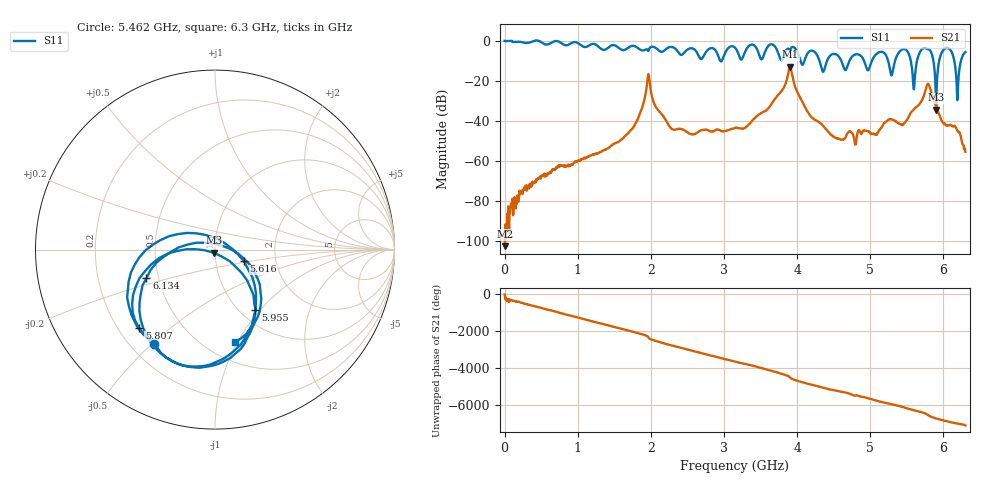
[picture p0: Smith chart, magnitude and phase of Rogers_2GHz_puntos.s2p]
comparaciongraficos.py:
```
import skrf as rf
import matplotlib.pyplot as plt

# --- CARGAR ARCHIVOS S2P ---
try:
    ntwk_rogers_medido = rf.Network('Rogers_2GHz_puntos.s2p')
except FileNotFoundError:
    print("ERROR: No se encontró 'Rogers_2GHz_puntos.s2p'.")
    exit()

try:
    ntwk_fr4_medido = rf.Network('FR4_2GHz_puntos.s2p')
except FileNotFoundError:
    print("ERROR: No se encontró 'FR4_2GHz_puntos.s2p'.")
    exit()

try:
    ntwk_rogers_simulado = rf.Network('S21-Rogers-2G.s2p')
except FileNotFoundError:
    print("ERROR: No se encontró 'S21-Rogers-2G.s2p'.")
    exit()

try:
    ntwk_fr4_simulado = rf.Network('S21-FR4-2G.s2p')
except FileNotFoundError:
    print("ERROR: No se encontró 'S21-FR4-2G.s2p'.")
    exit()

print("Archivos cargados exitosamente.")

# --- Graficar ---
fig, ax = plt.subplots(1, 2, figsize=(14, 6))

# --- ROGERS ---
ntwk_rogers_medido.plot_s_db(m=1, n=0, ax=ax[0], label='Medido', color='tab:blue')
ntwk_rogers_simulado.plot_s_db(m=1, n=0, ax=ax[0], label='Simulado', color='tab:orange', linestyle='--')
ax[0].set_xlim(0, 7e9)
ax[0].set_title('ROGERS 4350B $|S_{21}|$')
ax[0].set_xlabel('Frecuencia (Hz)')
ax[0].set_ylabel('Magnitud (dB)')
ax[0].grid(True, which="both", ls="--", alpha=0.6)
ax[0].legend()

# --- FR4 ---
ntwk_fr4_medido.plot_s_db(m=1, n=0, ax=ax[1], label='Medido', color='tab:blue')
ntwk_fr4_simulado.plot_s_db(m=1, n=0, ax=ax[1], label='Simulado', color='tab:orange', linestyle='--')
ax[1].set_xlim(0, 7e9)
ax[1].set_title('FR4 $|S_{21}|$')
ax[1].set_xlabel('Frecuencia (Hz)')
ax[1].set_ylabel('Magnitud (dB)')
ax[1].grid(True, which="both", ls="--", alpha=0.6)
ax[1].legend()

# --- Título general ---
plt.suptitle('Comparación de Parámetros $|S_{21}|$ a 2GHZ (Transmisión)')
plt.tight_layout(rect=[0, 0, 1, 0.96])
plt.show()
```
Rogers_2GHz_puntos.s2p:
! NanoVNA-App
! Date: 2025-10-01 20:26:19
! Start: 100kHz Stop: 6.3GHz Points: 1024
! S-Parameter data: F S11 S21 S12 S22
# Hz S RI R 50
!  Frequency  S11_Real  S11_Imag  S21_Real  S21_Imag  S12_Real  S12_Imag  S22_Real  S22_Imag
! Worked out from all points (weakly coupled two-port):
!   1024 points, 100 kHz to 6.3 GHz, reference 50 ohm
!   highest |S21| = -12.77 dB at 3.904 GHz (marker M1); lowest = -102.3 dB at 6.258 MHz (marker M2)
!   lowest |S11| = -34.3 dB at 5.9 GHz (marker M3), VSWR 1.04, Z = 49.2 - j1.76 ohm
!   |S11| at or under -10 dB: 4.306 GHz to 4.408 GHz (102.2 MHz wide, 2.35 % of centre); 4.605 GHz to 4.714 GHz (109.2 MHz wide, 2.34 % of centre); 4.915 GHz to 5.021 GHz (105.6 MHz wide, 2.13 % of centre)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
!   S12 and S22 are empty: the file has one direction only
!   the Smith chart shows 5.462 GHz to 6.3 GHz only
!   S11 on the Smith chart (normalised r, x): 5.462 GHz: 0.30, -0.51; 5.616 GHz: 1.37, -0.18; 5.807 GHz: 0.28, -0.39; 5.955 GHz: 1.17, -0.94; 6.134 GHz: 0.43, -0.16; 6.3 GHz: 0.68, -0.98
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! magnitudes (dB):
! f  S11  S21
! 100 kHz  0.0  -97.1
! 6.258 MHz  0.0  -102.3
! 3.153 GHz  -3.5  -43.4
! 3.904 GHz  -4.3  -12.8
! 5.462 GHz  -4.1  -41.1
! 5.616 GHz  -15.2  -33.2
! 5.807 GHz  -4.3  -22.5
! 5.9 GHz  -34.3  -32.7
! 5.955 GHz  -7.8  -37.9
! 6.134 GHz  -7.7  -42.7
! 6.3 GHz  -5.5  -55.2
